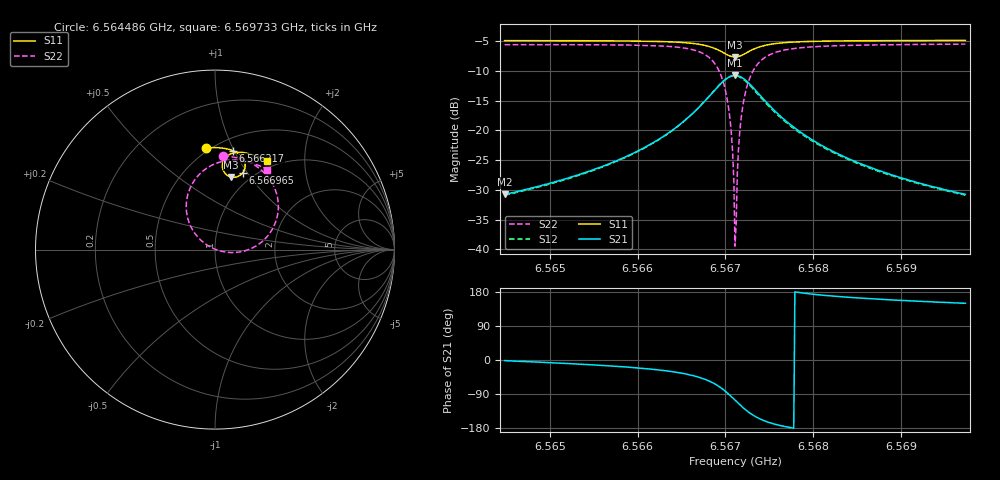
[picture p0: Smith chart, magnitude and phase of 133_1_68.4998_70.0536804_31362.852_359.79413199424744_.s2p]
#  HZ  S  RI  R  50.00
! Rohde & Schwarz Vector Network Analyzer
! Rohde-Schwarz,ZNB20-2Port,1311601062101988,3.16
! Created: UTC 3/20/2024, 5:09:41 PM
! freq[Hz]  re:S11  im:S11  re:S21  im:S21  re:S12  im:S12  re:S22  im:S22
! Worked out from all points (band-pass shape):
!   401 points, 6.564486 GHz to 6.569733 GHz, reference 50 ohm
!   highest |S21| = -10.73 dB at 6.56711 GHz (marker M1); lowest = -30.8 dB at 6.564486 GHz (marker M2)
!   |S21| within 3 dB of the highest: 6.566848 GHz to 6.567372 GHz (524 kHz wide, 0.00798 % of centre)
!   lowest |S11| = -7.7 dB at 6.56711 GHz (marker M3), VSWR 2.41, Z = 41.8 + j40.8 ohm
!   |S11| at or under -10 dB: nowhere
!   |S22| runs from -39.5 to -5.5 dB; largest |S21 - S12| = 0.014
!   S11 on the Smith chart (normalised r, x): 6.564486 GHz: 0.47, +0.79; 6.566217 GHz: 0.62, +0.99; 6.566965 GHz: 0.88, +0.95; 6.569733 GHz: 0.91, +1.32
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6.5644858e9  -0.0529 0.5667  0.029 -0.000776  0.0285 -0.00129  0.0472 0.5236
6.5653647e9  0.0196 0.5675  0.0425 -0.00831  0.0417 -0.009  0.1319 0.5086
6.5662175e9  0.1006 0.551  0.0739 -0.0356  0.0729 -0.0364  0.2476 0.4518
6.5662437e9  0.1035 0.55  0.0756 -0.0376  0.0744 -0.0383  0.2526 0.448
6.5667422e9  0.1622 0.4977  0.1111 -0.1272  0.1087 -0.1297  0.351 0.2736
6.5668734e9  0.1679 0.4611  0.1005 -0.191  0.0956 -0.1948  0.3371 0.1518
6.5669653e9  0.1551 0.4284  0.0612 -0.2469  0.0526 -0.2499  0.2656 0.0474
6.5670046e9  0.1425 0.4156  0.0312 -0.2679  0.0207 -0.2695  0.2101 0.01
6.567044e9  0.1252 0.4064  -0.00694 -0.2817  -0.0189 -0.2811  0.1402 -0.0129
6.5670702e9  0.1118 0.4031  -0.0355 -0.2852  -0.048 -0.2824  0.0886 -0.0166
6.5670964e9  0.0976 0.403  -0.0651 -0.2829  -0.0775 -0.2779  0.036 -0.00937
6.5671096e9  0.0906 0.4043  -0.0797 -0.2796  -0.0919 -0.2735  0.0105 -0.00192
6.5671227e9  0.0837 0.4062  -0.0938 -0.2747  -0.1056 -0.2676  -0.0141 0.00825
6.5671358e9  0.0772 0.4088  -0.1074 -0.2686  -0.1186 -0.2606  -0.0374 0.0209
6.567162e9  0.0652 0.4162  -0.1322 -0.2528  -0.1419 -0.2429  -0.0786 0.052
6.5671883e9  0.0555 0.4258  -0.1526 -0.2333  -0.1605 -0.2221  -0.1115 0.0892
6.5672408e9  0.0435 0.4479  -0.1791 -0.189  -0.1832 -0.1771  -0.1506 0.1702
6.5673064e9  0.0412 0.475  -0.1893 -0.136  -0.1894 -0.1253  -0.1592 0.2638
6.5675556e9  0.0797 0.5299  -0.145 -0.0283  -0.1418 -0.0238  -0.0575 0.4452
6.5679885e9  0.1429 0.5422  -0.0828 0.00897  -0.0808 0.0103  0.0815 0.4978
6.5688675e9  0.2261 0.5223  -0.0401 0.0155  -0.0392 0.0158  0.2122 0.4809
6.5697334e9  0.2906 0.4913  -0.0251 0.0146  -0.0244 0.0147  0.2897 0.446
